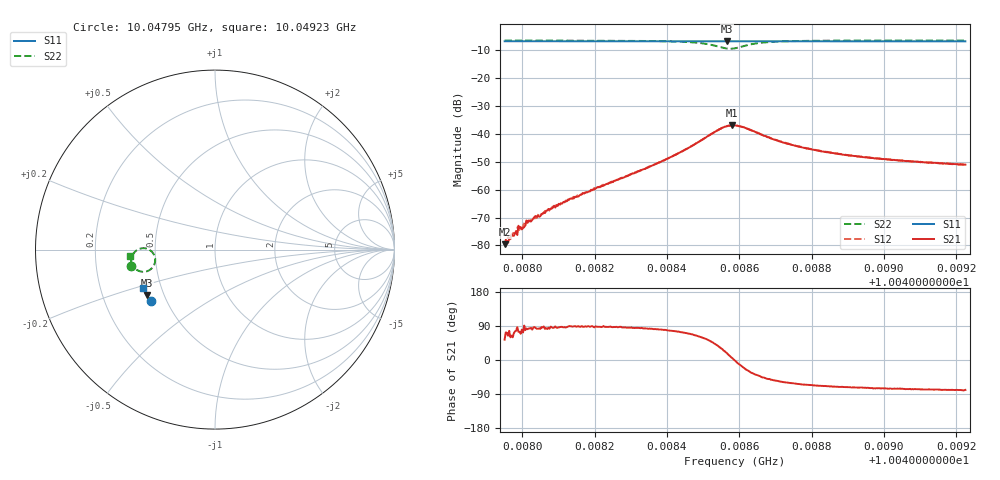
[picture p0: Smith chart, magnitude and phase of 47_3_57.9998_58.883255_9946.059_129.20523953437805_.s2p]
#  HZ  S  RI  R  50.00
! Rohde & Schwarz Vector Network Analyzer
! Rohde-Schwarz,ZNB20-2Port,1311601062101988,3.16
! Created: UTC 3/21/2024, 12:52:20 AM
! freq[Hz]  re:S11  im:S11  re:S21  im:S21  re:S12  im:S12  re:S22  im:S22
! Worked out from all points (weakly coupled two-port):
!   401 points, 10.04795 GHz to 10.04923 GHz, reference 50 ohm
!   highest |S21| = -36.92 dB at 10.04858 GHz (marker M1); lowest = -79.6 dB at 10.04795 GHz (marker M2)
!   lowest |S11| = -6.8 dB at 10.04857 GHz (marker M3), VSWR 2.68, Z = 20.1 - j12.8 ohm
!   |S11| at or under -10 dB: nowhere
!   |S22| runs from -9.4 to -6.5 dB; largest |S21 - S12| = 0.0011
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1.0047951e10  -0.3587 -0.2873  6.2e-05 8.41e-05  4.33e-05 9.83e-05  -0.4658 -0.09
1.0047976e10  -0.3597 -0.286  4.94e-05 0.00014  5e-05 0.00016  -0.4662 -0.0877
1.004798e10  -0.3598 -0.2858  4.16e-05 0.000158  2.26e-05 0.000163  -0.4661 -0.0875
1.0047989e10  -0.3602 -0.2852  6.12e-05 0.000217  1.57e-05 0.000192  -0.4662 -0.0867
1.0048002e10  -0.3607 -0.2846  6.13e-05 0.000195  3.87e-05 0.000218  -0.4664 -0.0854
1.0048011e10  -0.361 -0.284  3.35e-05 0.000279  3.49e-05 0.000247  -0.4664 -0.0846
1.0048037e10  -0.3621 -0.2827  3.37e-05 0.000334  1.28e-05 0.000307  -0.4666 -0.0825
1.0048088e10  -0.3642 -0.28  3.9e-05 0.000513  -5.68e-06 0.000488  -0.467 -0.0772
1.0048164e10  -0.3671 -0.2759  8.06e-06 0.00082  -2.14e-05 0.000839  -0.4671 -0.069
1.0048378e10  -0.3751 -0.2638  0.000498 0.00303  0.000332 0.00304  -0.4608 -0.0347
1.0048489e10  -0.379 -0.2572  0.00345 0.00645  0.00305 0.00665  -0.4278 0.0012
1.0048534e10  -0.38 -0.2546  0.00825 0.00735  0.00779 0.00784  -0.3806 0.00549
1.0048566e10  -0.3806 -0.2529  0.013 0.00424  0.0129 0.00502  -0.3391 -0.0301
1.0048579e10  -0.3809 -0.2525  0.0142 0.00158  0.0139 0.00247  -0.333 -0.0553
1.0048588e10  -0.3811 -0.2522  0.0142 -0.000387  0.0142 0.000542  -0.3352 -0.0748
1.0048623e10  -0.3825 -0.2509  0.0109 -0.00566  0.0114 -0.00497  -0.3741 -0.1189
1.0048668e10  -0.3846 -0.2486  0.00638 -0.00665  0.00693 -0.00644  -0.4199 -0.1205
1.0048728e10  -0.3869 -0.2451  0.00349 -0.00586  0.00391 -0.00571  -0.4472 -0.1033
1.0048802e10  -0.3895 -0.2407  0.0021 -0.0048  0.00239 -0.00472  -0.4598 -0.0864
1.00489e10  -0.3929 -0.2351  0.00128 -0.00391  0.00153 -0.0039  -0.4669 -0.0701
1.0049015e10  -0.3967 -0.2284  0.000868 -0.00332  0.0011 -0.00333  -0.4704 -0.056
1.0049225e10  -0.4033 -0.2161  0.000541 -0.00275  0.000677 -0.00274  -0.4731 -0.0361
